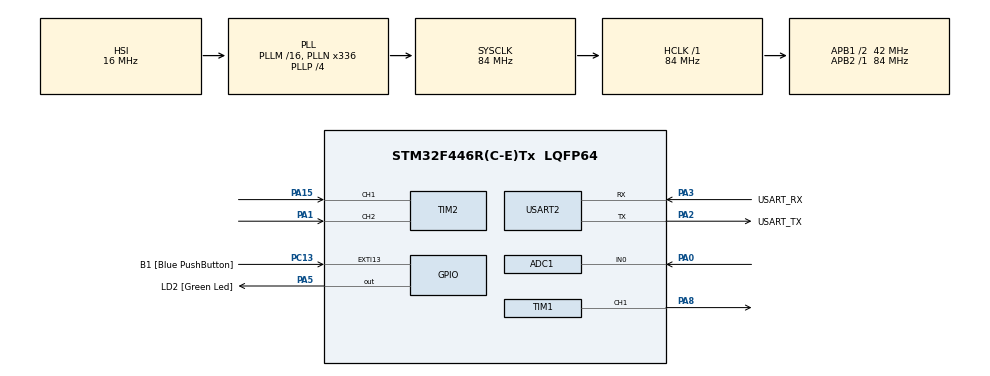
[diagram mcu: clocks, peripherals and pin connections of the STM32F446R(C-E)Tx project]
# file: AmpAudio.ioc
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ADC1.Channel-0\#ChannelRegularConversion=ADC_CHANNEL_0
ADC1.NbrOfConversionFlag=1
ADC1.Rank-0\#ChannelRegularConversion=1
ADC1.SamplingTime-0\#ChannelRegularConversion=ADC_SAMPLETIME_3CYCLES
ADC1.ScanConvMode=ENABLE
ADC1.master=1
Dma.ADC1.0.Direction=DMA_PERIPH_TO_MEMORY
Dma.ADC1.0.FIFOMode=DMA_FIFOMODE_DISABLE
Dma.ADC1.0.Instance=DMA2_Stream0
Dma.ADC1.0.MemDataAlignment=DMA_MDATAALIGN_HALFWORD
Dma.ADC1.0.MemInc=DMA_MINC_ENABLE
Dma.ADC1.0.Mode=DMA_NORMAL
Dma.ADC1.0.PeriphDataAlignment=DMA_PDATAALIGN_HALFWORD
Dma.ADC1.0.PeriphInc=DMA_PINC_DISABLE
Dma.ADC1.0.Priority=DMA_PRIORITY_LOW
Dma.Request0=ADC1
Mcu.Family=STM32F4
Mcu.Name=STM32F446R(C-E)Tx
Mcu.Package=LQFP64
NVIC.DMA2_Stream0_IRQn=true\:0\:0\:false\:false\:true\:false\:true\:true
NVIC.PriorityGroup=NVIC_PRIORITYGROUP_0
PA0-WKUP.Signal=ADCx_IN0
PA1.Signal=S_TIM2_CH2
PA13.GPIO_Label=TMS
PA13.Mode=Serial_Wire
PA13.Signal=SYS_JTMS-SWDIO
PA14.GPIO_Label=TCK
PA14.Mode=Serial_Wire
PA14.Signal=SYS_JTCK-SWCLK
PA15.Signal=S_TIM2_CH1_ETR
PA2.GPIO_Label=USART_TX
PA2.Mode=Asynchronous
PA2.Signal=USART2_TX
PA3.GPIO_Label=USART_RX
PA3.Mode=Asynchronous
PA3.Signal=USART2_RX
PA5.GPIO_Label=LD2 [Green Led]
PA5.Signal=GPIO_Output
PA8.Signal=S_TIM1_CH1
PB3.GPIO_Label=SWO
PB3.Signal=SYS_JTDO-SWO
PC13.GPIO_Label=B1 [Blue PushButton]
PC13.GPIO_ModeDefaultEXTI=GPIO_MODE_IT_FALLING
PC13.Signal=GPXTI13
PC14-OSC32_IN.Mode=LSE-External-Oscillator
PC14-OSC32_IN.Signal=RCC_OSC32_IN
PC15-OSC32_OUT.Mode=LSE-External-Oscillator
PC15-OSC32_OUT.Signal=RCC_OSC32_OUT
PH0-OSC_IN.Mode=HSE-External-Oscillator
PH0-OSC_IN.Signal=RCC_OSC_IN
PH1-OSC_OUT.Mode=HSE-External-Oscillator
PH1-OSC_OUT.Signal=RCC_OSC_OUT
ProjectManager.HeapSize=0x200
ProjectManager.StackSize=0x400
ProjectManager.TargetToolchain=STM32CubeIDE
RCC.48MHZClocksFreq_Value=84000000
RCC.AHBFreq_Value=84000000
RCC.APB1CLKDivider=RCC_HCLK_DIV2
RCC.APB1Freq_Value=42000000
RCC.APB1TimFreq_Value=84000000
RCC.APB2Freq_Value=84000000
RCC.APB2TimFreq_Value=84000000
RCC.CortexFreq_Value=84000000
RCC.FLatency-AdvancedSettings=FLASH_LATENCY_2
RCC.HCLKFreq_Value=84000000
RCC.HSE_VALUE=8000000
RCC.HSI_VALUE=16000000
RCC.PLLN=336
RCC.PLLP=RCC_PLLP_DIV4
RCC.SYSCLKFreq_VALUE=84000000
RCC.SYSCLKSource=RCC_SYSCLKSOURCE_PLLCLK
RCC.USBFreq_Value=168000000
RCC.VCOOutputFreq_Value=336000000
SH.ADCx_IN0.0=ADC1_IN0,IN0
SH.S_TIM1_CH1.0=TIM1_CH1,PWM Generation1 CH1
SH.S_TIM2_CH1_ETR.0=TIM2_CH1,Encoder_Interface
SH.S_TIM2_CH2.0=TIM2_CH2,Encoder_Interface
TIM1.Channel-PWM\ Generation1\ CH1=TIM_CHANNEL_1
TIM1.Period=839
USART2.VirtualMode=VM_ASYNC
VP_TIM1_VS_ClockSourceINT.Mode=Internal
board=NUCLEO-F446RE

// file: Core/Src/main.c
/* USER CODE BEGIN Header */
/**
  ******************************************************************************
  * @file           : main.c
  * @brief          : Main program body
  ******************************************************************************
  * @attention
  *
  * Copyright (c) 2023 STMicroelectronics.
  * All rights reserved.
  *
  * This software is licensed under terms that can be found in the LICENSE file
  * in the root directory of this software component.
  * If no LICENSE file comes with this software, it is provided AS-IS.
  *
  ******************************************************************************
  */
/* USER CODE END Header */
#include "main.h"
#include "adc.h"
#include "dma.h"
#include "tim.h"
#include "usart.h"
#include "gpio.h"

/* USER CODE BEGIN PV */

volatile uint16_t vin;
uint8_t volumeControl;

/* USER CODE END PV */

void SystemClock_Config(void);

/* USER CODE BEGIN 0 */

uint16_t Interpolation()
{
	return (vin * __HAL_TIM_GET_AUTORELOAD(&htim1)/4095);
}

void HAL_ADC_ConvCpltCallback(ADC_HandleTypeDef* hadc)
{
	uint16_t tactive = Interpolation()*volumeControl/100;
	__HAL_TIM_SET_COMPARE(&htim1, TIM_CHANNEL_1, tactive);

	HAL_ADC_Start_DMA(&hadc1, (uint32_t*)&vin, 1);
}

void HAL_TIM_IC_CaptureCallback(TIM_HandleTypeDef *htim)
{
	if(htim->Instance == TIM2)
	{
		if(__HAL_TIM_GET_COUNTER(&htim2) < 2){
			__HAL_TIM_SET_COUNTER(&htim2, 2);
		}
		if(__HAL_TIM_GET_COUNTER(&htim2) > 98){
			__HAL_TIM_SET_COUNTER(&htim2, 98);
		}
		else
		{
			volumeControl = __HAL_TIM_GET_COUNTER(&htim2);
		}
	}
}

void Volume_Init()
{
	__HAL_TIM_SET_COUNTER(&htim2, 50);
	volumeControl = 50;
}
/* USER CODE END 0 */

int main(void)
{

  /* MCU Configuration--------------------------------------------------------*/

  /* Reset of all peripherals, Initializes the Flash interface and the Systick. */
  HAL_Init();

  /* Configure the system clock */
  SystemClock_Config();

  /* Initialize all configured peripherals */
  MX_GPIO_Init();
  MX_DMA_Init();
  MX_USART2_UART_Init();
  MX_TIM2_Init();
  MX_ADC1_Init();
  MX_TIM1_Init();
  /* USER CODE BEGIN 2 */

  Volume_Init();
  HAL_ADC_Start_DMA(&hadc1, (uint32_t*)&vin, 1);

  /* USER CODE END 2 */

  /* Infinite loop */
  while (1)
  {

  }
}

void SystemClock_Config(void)
{
  RCC_OscInitTypeDef RCC_OscInitStruct = {0};
  RCC_ClkInitTypeDef RCC_ClkInitStruct = {0};

  /** Configure the main internal regulator output voltage
  */
  __HAL_RCC_PWR_CLK_ENABLE();
  __HAL_PWR_VOLTAGESCALING_CONFIG(PWR_REGULATOR_VOLTAGE_SCALE3);

  /** Initializes the RCC Oscillators according to the specified parameters
  * in the RCC_OscInitTypeDef structure.
  */
  RCC_OscInitStruct.OscillatorType = RCC_OSCILLATORTYPE_HSI;
  RCC_OscInitStruct.HSIState = RCC_HSI_ON;
  RCC_OscInitStruct.HSICalibrationValue = RCC_HSICALIBRATION_DEFAULT;
  RCC_OscInitStruct.PLL.PLLState = RCC_PLL_ON;
  RCC_OscInitStruct.PLL.PLLSource = RCC_PLLSOURCE_HSI;
  RCC_OscInitStruct.PLL.PLLM = 16;
  RCC_OscInitStruct.PLL.PLLN = 336;
  RCC_OscInitStruct.PLL.PLLP = RCC_PLLP_DIV4;
  RCC_OscInitStruct.PLL.PLLQ = 2;
  RCC_OscInitStruct.PLL.PLLR = 2;
  if (HAL_RCC_OscConfig(&RCC_OscInitStruct) != HAL_OK)
  {
    Error_Handler();
  }

  /** Initializes the CPU, AHB and APB buses clocks
  */
  RCC_ClkInitStruct.ClockType = RCC_CLOCKTYPE_HCLK|RCC_CLOCKTYPE_SYSCLK
                              |RCC_CLOCKTYPE_PCLK1|RCC_CLOCKTYPE_PCLK2;
  RCC_ClkInitStruct.SYSCLKSource = RCC_SYSCLKSOURCE_PLLCLK;
  RCC_ClkInitStruct.AHBCLKDivider = RCC_SYSCLK_DIV1;
  RCC_ClkInitStruct.APB1CLKDivider = RCC_HCLK_DIV2;
  RCC_ClkInitStruct.APB2CLKDivider = RCC_HCLK_DIV1;

  if (HAL_RCC_ClockConfig(&RCC_ClkInitStruct, FLASH_LATENCY_2) != HAL_OK)
  {
    Error_Handler();
  }
}

void Error_Handler(void)
{
  __disable_irq();
  while (1)
  {
  }
}
